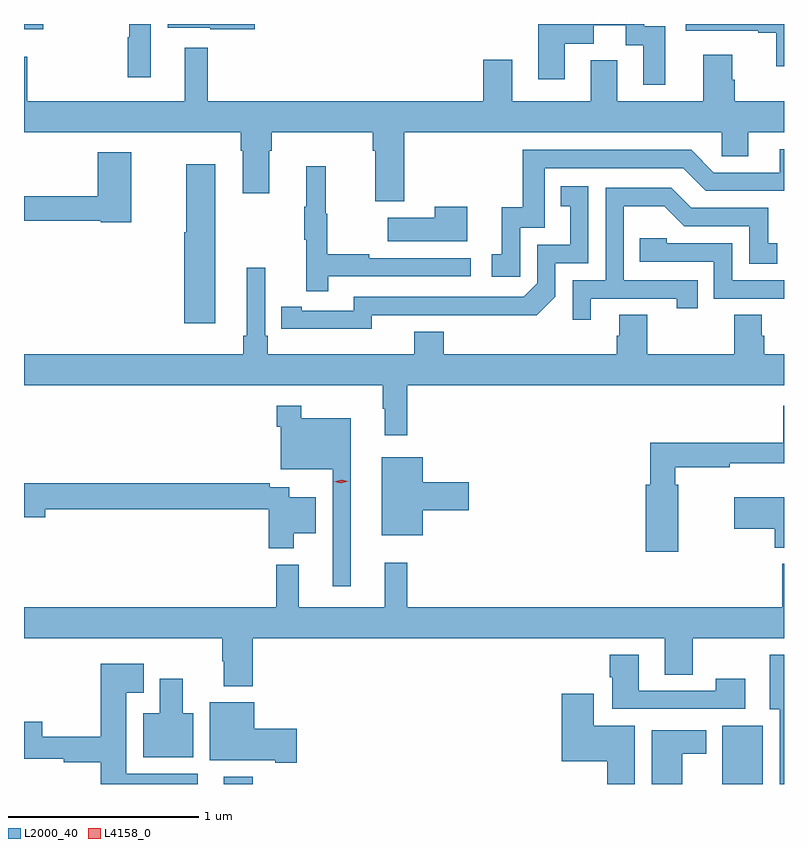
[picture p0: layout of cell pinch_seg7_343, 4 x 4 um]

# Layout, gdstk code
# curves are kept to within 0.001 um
import gdstk
lib = gdstk.Library(unit=1e-6, precision=1e-09)
def R(c, l, rs):  # rectangles x0, y0, x1, y1
    for r in rs: c.add(gdstk.rectangle(r[:2], r[2:], *l))
def P(c, l, *ps):  # polygons
    for p in ps: c.add(gdstk.Polygon(p, *l))
L2000_40 = (2000, 40)
L4158_0 = (4158, 0)

pinch_seg7_343 = lib.new_cell('pinch_seg7_343')
R(pinch_seg7_343, L2000_40, [(433.727,1018.498,433.88,1018.537), (436.352,1018.498,436.564,1018.804), (432.677,1022.471,432.778,1022.498)])
P(pinch_seg7_343, L2000_40, [(433.891,1022.498),(433.433,1022.498),(433.433,1022.477),(433.656,1022.477),(433.656,1022.47),(433.891,1022.47)],
  [(436.677,1022.498),(436.161,1022.498),(436.161,1022.463),(436.541,1022.463),(436.541,1022.451),(436.636,1022.451),(436.636,1022.276),(436.677,1022.276)],
  [(433.345,1022.498),(433.231,1022.498),(433.231,1022.429),(433.224,1022.429),(433.224,1022.217),(433.345,1022.217)],
  [(436.051,1022.487),(435.942,1022.487),(435.942,1022.498),(435.383,1022.498),(435.383,1022.208),(435.523,1022.208),(435.523,1022.393),(435.676,1022.393),(435.676,1022.492),(435.845,1022.492),(435.845,1022.386),(435.935,1022.386),(435.935,1022.178),(436.051,1022.178)],
  [(433.645,1022.374),(433.523,1022.374),(433.523,1022.092),(432.695,1022.092),(432.695,1022.326),(432.677,1022.326),(432.677,1021.928),(433.817,1021.928),(433.817,1021.832),(433.829,1021.832),(433.829,1021.608),(433.969,1021.608),(433.969,1021.832),(433.982,1021.832),(433.982,1021.928),(434.513,1021.928),(434.513,1021.832),(434.525,1021.832),(434.525,1021.566),(434.678,1021.566),(434.678,1021.928),(436.35,1021.928),(436.35,1021.801),(436.489,1021.801),(436.489,1021.928),(436.677,1021.928),(436.677,1022.092),(436.418,1022.092),(436.418,1022.205),(436.405,1022.205),(436.405,1022.335),(436.253,1022.335),(436.253,1022.092),(435.799,1022.092),(435.799,1022.308),(435.659,1022.308),(435.659,1022.092),(435.247,1022.092),(435.247,1022.311),(435.095,1022.311),(435.095,1022.092),(433.645,1022.092)],
  [(435.288,1021.425),(435.417,1021.425),(435.417,1021.74),(436.146,1021.74),(436.266,1021.62),(436.677,1021.62),(436.677,1021.839),(436.655,1021.839),(436.655,1021.716),(436.308,1021.716),(436.188,1021.836),(435.301,1021.836),(435.301,1021.534),(435.191,1021.534),(435.191,1021.287),(435.138,1021.287),(435.138,1021.167),(435.288,1021.167)],
  [(433.242,1021.822),(433.064,1021.822),(433.064,1021.591),(432.677,1021.591),(432.677,1021.462),(433.08,1021.462),(433.08,1021.454),(433.242,1021.454)],
  [(433.684,1021.759),(433.531,1021.759),(433.531,1021.401),(433.52,1021.401),(433.52,1020.924),(433.684,1020.924)],
  [(434.279,1021.17),(435.028,1021.17),(435.028,1021.266),(434.495,1021.266),(434.495,1021.286),(434.272,1021.286),(434.272,1021.5),(434.264,1021.5),(434.264,1021.75),(434.162,1021.75),(434.162,1021.537),(434.151,1021.537),(434.151,1021.363),(434.162,1021.363),(434.162,1021.092),(434.279,1021.092)],
  [(434.508,1020.966),(435.376,1020.965),(435.474,1021.062),(435.474,1021.239),(435.648,1021.239),(435.648,1021.645),(435.502,1021.645),(435.502,1021.539),(435.551,1021.539),(435.551,1021.335),(435.378,1021.335),(435.378,1021.134),(435.306,1021.062),(434.412,1021.062),(434.412,1020.99),(434.14,1020.99),(434.14,1021.01),(434.032,1021.01),(434.032,1020.894),(434.508,1020.893)],
  [(435.661,1021.053),(436.112,1021.053),(436.112,1021.002),(436.223,1021.002),(436.223,1021.149),(435.834,1021.149),(435.834,1021.538),(436.048,1021.538),(436.152,1021.434),(436.494,1021.434),(436.494,1021.236),(436.642,1021.236),(436.642,1021.345),(436.593,1021.345),(436.593,1021.53),(436.189,1021.53),(436.084,1021.635),(435.738,1021.635),(435.738,1021.149),(435.564,1021.149),(435.564,1020.942),(435.661,1020.942)],
  [(435.01,1021.537),(434.84,1021.537),(434.84,1021.477),(434.591,1021.477),(434.591,1021.355),(435.01,1021.355)],
  [(436.677,1021.149),(436.404,1021.149),(436.404,1021.344),(436.059,1021.344),(436.059,1021.371),(435.919,1021.371),(435.919,1021.248),(436.308,1021.248),(436.308,1021.053),(436.677,1021.053)],
  [(434.693,1020.596),(436.677,1020.596),(436.677,1020.76),(436.574,1020.76),(436.574,1020.858),(436.561,1020.858),(436.561,1020.968),(436.414,1020.968),(436.414,1020.76),(435.957,1020.76),(435.957,1020.968),(435.809,1020.968),(435.809,1020.858),(435.797,1020.858),(435.797,1020.76),(434.885,1020.76),(434.885,1020.877),(434.732,1020.877),(434.732,1020.76),(433.961,1020.76),(433.961,1020.856),(433.947,1020.856),(433.947,1021.216),(433.85,1021.216),(433.85,1020.856),(433.831,1020.856),(433.831,1020.76),(432.677,1020.76),(432.677,1020.596),(434.565,1020.596),(434.565,1020.473),(434.576,1020.473),(434.576,1020.333),(434.693,1020.333)],
  [(436.12,1020.073),(436.105,1020.073),(436.105,1020.166),(436.391,1020.166),(436.391,1020.185),(436.677,1020.185),(436.677,1020.49),(436.672,1020.49),(436.672,1020.295),(435.973,1020.295),(435.973,1020.073),(435.95,1020.073),(435.95,1019.721),(436.12,1019.721)],
  [(434.398,1020.424),(434.137,1020.424),(434.137,1020.49),(434.008,1020.49),(434.008,1020.377),(434.028,1020.377),(434.028,1020.155),(434.301,1020.155),(434.301,1019.538),(434.398,1019.538)],
  [(434.776,1019.939),(435.019,1019.939),(435.019,1020.086),(434.776,1020.086),(434.776,1020.217),(434.561,1020.217),(434.561,1019.807),(434.776,1019.807)],
  [(434.098,1019.819),(434.212,1019.819),(434.212,1020.007),(434.073,1020.007),(434.073,1020.06),(433.97,1020.06),(433.97,1020.08),(432.677,1020.08),(432.677,1019.902),(432.79,1019.902),(432.79,1019.944),(433.964,1019.944),(433.964,1019.738),(434.098,1019.738)],
  [(436.677,1020.007),(436.416,1020.007),(436.416,1019.842),(436.628,1019.842),(436.628,1019.741),(436.677,1019.741)],
  [(433.88,1019.264),(436.049,1019.264),(436.049,1019.074),(436.197,1019.074),(436.197,1019.264),(436.677,1019.264),(436.677,1019.656),(436.669,1019.656),(436.669,1019.428),(434.693,1019.428),(434.693,1019.662),(434.576,1019.662),(434.576,1019.428),(434.123,1019.428),(434.123,1019.653),(434.005,1019.653),(434.005,1019.428),(432.677,1019.428),(432.677,1019.264),(433.72,1019.264),(433.72,1019.144),(433.727,1019.144),(433.727,1019.012),(433.88,1019.012)],
  [(436.474,1019.053),(436.318,1019.053),(436.318,1018.989),(435.913,1018.989),(435.913,1019.179),(435.761,1019.179),(435.761,1019.059),(435.773,1019.059),(435.773,1018.893),(436.474,1018.893)],
  [(436.677,1019.179),(436.601,1019.179),(436.601,1018.892),(436.655,1018.892),(436.655,1018.498),(436.677,1018.498)],
  [(433.591,1018.552),(433.216,1018.552),(433.216,1018.979),(433.306,1018.979),(433.306,1019.131),(433.082,1019.131),(433.082,1018.748),(432.772,1018.748),(432.772,1018.825),(432.677,1018.825),(432.677,1018.631),(432.886,1018.631),(432.886,1018.612),(433.082,1018.612),(433.082,1018.498),(433.591,1018.498)],
  [(433.567,1018.87),(433.513,1018.87),(433.513,1019.053),(433.391,1019.053),(433.391,1018.87),(433.304,1018.87),(433.304,1018.64),(433.567,1018.64)],
  [(435.892,1018.804),(435.676,1018.804),(435.676,1018.972),(435.506,1018.972),(435.506,1018.619),(435.746,1018.619),(435.746,1018.498),(435.892,1018.498)],
  [(434.113,1018.788),(433.888,1018.788),(433.888,1018.927),(433.655,1018.927),(433.655,1018.622),(434,1018.622),(434,1018.61),(434.113,1018.61)],
  [(436.141,1018.658),(436.267,1018.658),(436.267,1018.78),(435.98,1018.78),(435.98,1018.498),(436.141,1018.498)])
P(pinch_seg7_343, L4158_0, [(434.348,1020.08),(434.311,1020.088),(434.311,1020.088),(434.311,1020.088),(434.347,1020.1),(434.383,1020.092),(434.383,1020.092),(434.383,1020.092)])

lib.write_gds('pinch_seg7_343.gds')
